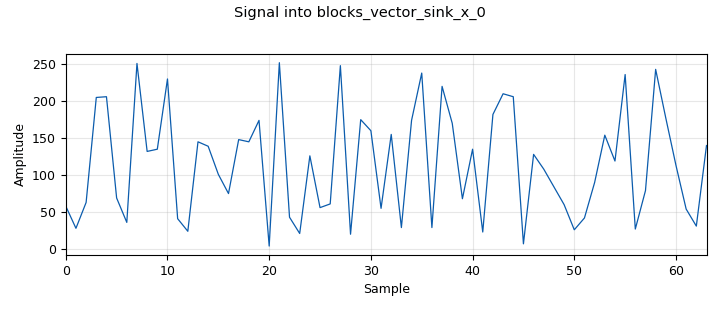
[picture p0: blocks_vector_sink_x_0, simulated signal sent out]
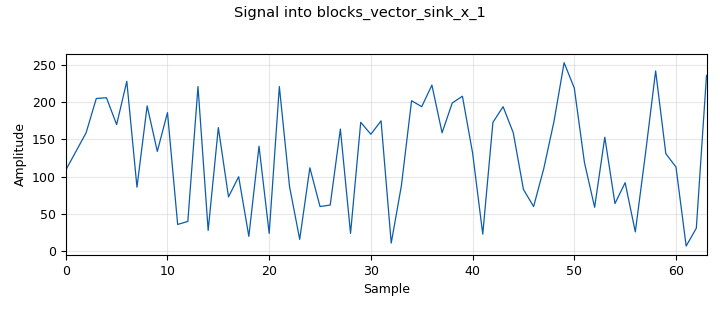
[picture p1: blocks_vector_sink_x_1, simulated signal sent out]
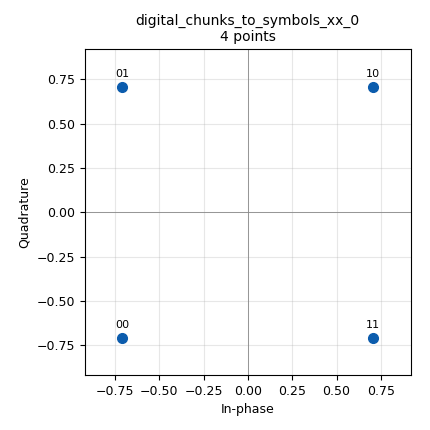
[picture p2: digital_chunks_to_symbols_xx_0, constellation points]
<?xml version='1.0' encoding='utf-8'?>
<?grc format='1' created='3.7.12'?>
<flow_graph>
<block>
<key>options</key>
<param><key>id</key><value>eve_re_learn_testbed_graph</value></param>
<param><key>generate_options</key><value>qt_gui</value></param>
</block>
<block>
<key>variable_constellation</key>
<param><key>id</key><value>const</value></param>
<param><key>const_points</key><value>[-1-1j, -1+1j, 1+1j, 1-1j]</value></param>
<param><key>type</key><value>calcdist</value></param>
<param><key>dims</key><value>1</value></param>
<param><key>rot_sym</key><value>4</value></param>
<param><key>precision</key><value>8</value></param>
<param><key>sym_map</key><value>[0, 1, 3, 2]</value></param>
</block>
<block>
<key>variable</key>
<param><key>id</key><value>max_items</value></param>
<param><key>value</key><value>80</value></param>
</block>
<block>
<key>variable</key>
<param><key>id</key><value>samp_rate</value></param>
<param><key>value</key><value>32000</value></param>
</block>
<block>
<key>variable</key>
<param><key>id</key><value>snr_db</value></param>
<param><key>value</key><value>0</value></param>
</block>
<block>
<key>analog_fastnoise_source_x</key>
<param><key>id</key><value>analog_fastnoise_source_x_0</value></param>
<param><key>amp</key><value>10**(-snr_db/20.0)</value></param>
<param><key>noise_type</key><value>analog.GR_GAUSSIAN</value></param>
<param><key>type</key><value>complex</value></param>
<param><key>seed</key><value>0</value></param>
<param><key>samples</key><value>2**16</value></param>
</block>
<block>
<key>analog_fastnoise_source_x</key>
<param><key>id</key><value>analog_fastnoise_source_x_0_0</value></param>
<param><key>amp</key><value>10**(-snr_db/20.0)</value></param>
<param><key>noise_type</key><value>analog.GR_GAUSSIAN</value></param>
<param><key>type</key><value>complex</value></param>
<param><key>seed</key><value>0</value></param>
<param><key>samples</key><value>2**16</value></param>
</block>
<block>
<key>analog_random_source_x</key>
<param><key>id</key><value>analog_random_source_x_0</value></param>
<param><key>max</key><value>2</value></param>
<param><key>min</key><value>0</value></param>
<param><key>num_samps</key><value>1000000</value></param>
<param><key>type</key><value>byte</value></param>
<param><key>repeat</key><value>True</value></param>
</block>
<block>
<key>blocks_add_xx</key>
<param><key>id</key><value>blocks_add_xx_0</value></param>
<param><key>type</key><value>complex</value></param>
<param><key>num_inputs</key><value>3</value></param>
</block>
<block>
<key>blocks_head</key>
<param><key>id</key><value>blocks_head_0</value></param>
<param><key>num_items</key><value>max_items</value></param>
<param><key>type</key><value>byte</value></param>
</block>
<block>
<key>blocks_head</key>
<param><key>id</key><value>blocks_head_0_0</value></param>
<param><key>num_items</key><value>max_items</value></param>
<param><key>type</key><value>byte</value></param>
</block>
<block>
<key>blocks_repack_bits_bb</key>
<param><key>id</key><value>blocks_repack_bits_bb_0</value></param>
<param><key>k</key><value>const.bits_per_symbol()</value></param>
<param><key>l</key><value>8</value></param>
<param><key>endianness</key><value>gr.GR_LSB_FIRST</value></param>
</block>
<block>
<key>blocks_repack_bits_bb</key>
<param><key>id</key><value>blocks_repack_bits_bb_0_0</value></param>
<param><key>k</key><value>1</value></param>
<param><key>l</key><value>const.bits_per_symbol()</value></param>
<param><key>endianness</key><value>gr.GR_LSB_FIRST</value></param>
</block>
<block>
<key>blocks_repack_bits_bb</key>
<param><key>id</key><value>blocks_repack_bits_bb_1</value></param>
<param><key>k</key><value>1</value></param>
<param><key>l</key><value>8</value></param>
<param><key>endianness</key><value>gr.GR_LSB_FIRST</value></param>
</block>
<block>
<key>blocks_throttle</key>
<param><key>id</key><value>blocks_throttle_0</value></param>
<param><key>samples_per_second</key><value>samp_rate</value></param>
<param><key>type</key><value>complex</value></param>
</block>
<block>
<key>blocks_vector_sink_x</key>
<param><key>id</key><value>blocks_vector_sink_x_0</value></param>
<param><key>type</key><value>byte</value></param>
</block>
<block>
<key>blocks_vector_sink_x</key>
<param><key>id</key><value>blocks_vector_sink_x_1</value></param>
<param><key>type</key><value>byte</value></param>
</block>
<block>
<key>digital_chunks_to_symbols_xx</key>
<param><key>id</key><value>digital_chunks_to_symbols_xx_0</value></param>
<param><key>dimension</key><value>1</value></param>
<param><key>in_type</key><value>byte</value></param>
<param><key>out_type</key><value>complex</value></param>
<param><key>symbol_table</key><value>const.points()</value></param>
</block>
<block>
<key>digital_constellation_decoder_cb</key>
<param><key>id</key><value>digital_constellation_decoder_cb_0</value></param>
<param><key>constellation</key><value>const</value></param>
</block>
<connection><source_block_id>analog_fastnoise_source_x_0</source_block_id><sink_block_id>blocks_add_xx_0</sink_block_id><source_key>0</source_key><sink_key>0</sink_key></connection>
<connection><source_block_id>analog_fastnoise_source_x_0_0</source_block_id><sink_block_id>blocks_add_xx_0</sink_block_id><source_key>0</source_key><sink_key>2</sink_key></connection>
<connection><source_block_id>analog_random_source_x_0</source_block_id><sink_block_id>blocks_repack_bits_bb_0_0</sink_block_id><source_key>0</source_key><sink_key>0</sink_key></connection>
<connection><source_block_id>analog_random_source_x_0</source_block_id><sink_block_id>blocks_repack_bits_bb_1</sink_block_id><source_key>0</source_key><sink_key>0</sink_key></connection>
<connection><source_block_id>blocks_add_xx_0</source_block_id><sink_block_id>digital_constellation_decoder_cb_0</sink_block_id><source_key>0</source_key><sink_key>0</sink_key></connection>
<connection><source_block_id>blocks_head_0</source_block_id><sink_block_id>blocks_vector_sink_x_0</sink_block_id><source_key>0</source_key><sink_key>0</sink_key></connection>
<connection><source_block_id>blocks_head_0_0</source_block_id><sink_block_id>blocks_vector_sink_x_1</sink_block_id><source_key>0</source_key><sink_key>0</sink_key></connection>
<connection><source_block_id>blocks_repack_bits_bb_0</source_block_id><sink_block_id>blocks_head_0</sink_block_id><source_key>0</source_key><sink_key>0</sink_key></connection>
<connection><source_block_id>blocks_repack_bits_bb_0_0</source_block_id><sink_block_id>digital_chunks_to_symbols_xx_0</sink_block_id><source_key>0</source_key><sink_key>0</sink_key></connection>
<connection><source_block_id>blocks_repack_bits_bb_1</source_block_id><sink_block_id>blocks_head_0_0</sink_block_id><source_key>0</source_key><sink_key>0</sink_key></connection>
<connection><source_block_id>blocks_throttle_0</source_block_id><sink_block_id>blocks_add_xx_0</sink_block_id><source_key>0</source_key><sink_key>1</sink_key></connection>
<connection><source_block_id>digital_chunks_to_symbols_xx_0</source_block_id><sink_block_id>blocks_throttle_0</sink_block_id><source_key>0</source_key><sink_key>0</sink_key></connection>
<connection><source_block_id>digital_constellation_decoder_cb_0</source_block_id><sink_block_id>blocks_repack_bits_bb_0</sink_block_id><source_key>0</source_key><sink_key>0</sink_key></connection>
</flow_graph>
